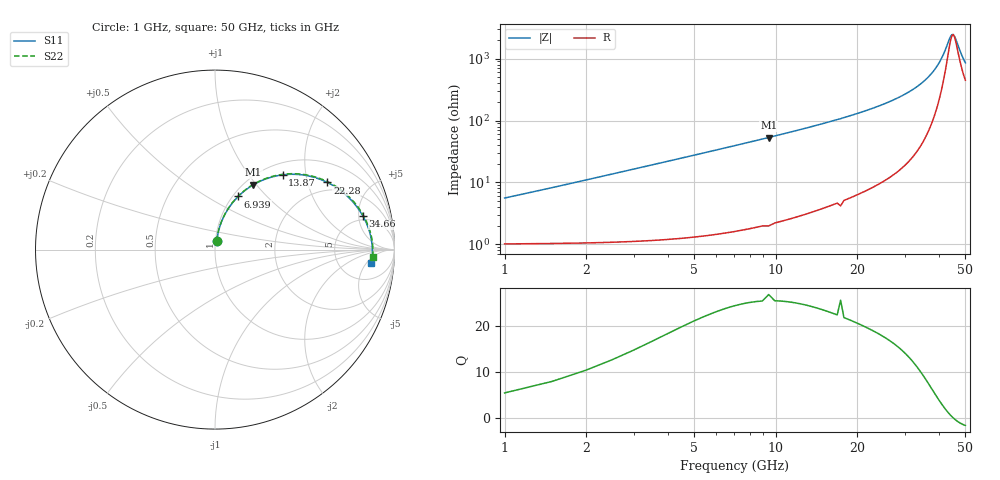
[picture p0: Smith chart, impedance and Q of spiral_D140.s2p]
! rapidmom parametric dataset (SG13G2 open stack, IHP)
! device = spiral
! family = spiral_N2
! stack = IHP SG13G2 (open PDK)
! Dout_um = 140
! width_um = 10
! spacing_um = 3
! sides = 8
! n_ports = 2
! n_dof = 3916
! cell_um = 3.333
! sweep = ROM (rational fit from adaptive anchor solves)
! rom_converged = False
! f_points = 100
! f_min_hz = 1.000e+09
! f_max_hz = 5.000e+10
! tool = rapidmom (2.5D MoM, A-EFIE)
! N = 2
# HZ S RI R 50
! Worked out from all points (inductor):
!   100 points, 1 GHz to 50 GHz, reference 50 ohm
!   read as 1/Y11, port 2 shorted: L = 869 pH near 1 GHz
!   highest Q = 25.4 at 9.414 GHz (marker M1), where L = 896 pH
!   self-resonance near 45.13 GHz
!   S11 on the Smith chart (normalised r, x): 1 GHz: 1.02, +0.10; 6.939 GHz: 1.06, +0.70; 13.87 GHz: 1.22, +1.48; 22.28 GHz: 1.67, +2.68; 34.66 GHz: 4.35, +5.67; 50 GHz: 11, -7
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1e9  0.0112 0.0475  0.9852 -0.0601  0.9852 -0.0601  0.0112 0.0475
1.494949e9  0.0114 0.0577  0.9781 -0.101  0.9781 -0.101  0.0109 0.058
1.989899e9  0.0157 0.0856  0.9722 -0.1245  0.9722 -0.1245  0.0152 0.0861
2.484848e9  0.0218 0.1116  0.9655 -0.1491  0.9655 -0.1491  0.0212 0.1121
2.979798e9  0.0293 0.1362  0.9575 -0.174  0.9575 -0.174  0.0288 0.1369
3.474747e9  0.0381 0.1597  0.9484 -0.1987  0.9484 -0.1987  0.0376 0.1605
3.969697e9  0.0482 0.1823  0.9381 -0.223  0.9381 -0.223  0.0477 0.1831
4.959596e9  0.0717 0.2243  0.9144 -0.2698  0.9144 -0.2698  0.0711 0.2254
5.949495e9  0.099 0.2623  0.8868 -0.3133  0.8868 -0.3133  0.0985 0.2636
6.939394e9  0.1295 0.2961  0.8562 -0.3531  0.8562 -0.3531  0.1289 0.2976
8.424242e9  0.1795 0.3387  0.8058 -0.4052  0.8058 -0.4052  0.1788 0.3404
9.414141e9  0.2144 0.3613  0.7726 -0.4344  0.7726 -0.4344  0.2129 0.3617
1.139394e10  0.2871 0.3951  0.6973 -0.4823  0.6973 -0.4823  0.2863 0.3975
1.386869e10  0.3766 0.4162  0.6068 -0.5216  0.6068 -0.5216  0.3755 0.4192
1.782828e10  0.5066 0.413  0.474 -0.5492  0.474 -0.5492  0.5051 0.417
2.228283e10  0.6263 0.374  0.3494 -0.5474  0.3494 -0.5474  0.6239 0.3797
2.574747e10  0.6998 0.3289  0.2698 -0.5332  0.2698 -0.5332  0.6968 0.3364
2.970707e10  0.7654 0.2687  0.1937 -0.5102  0.1937 -0.5102  0.762 0.2788
3.366667e10  0.8136 0.2043  0.1279 -0.4844  0.1279 -0.4844  0.8096 0.2181
3.465657e10  0.824 0.1867  0.1154 -0.4767  0.1154 -0.4767  0.8206 0.2009
4.208081e10  0.8705 0.0586  0.0206 -0.421  0.0206 -0.421  0.8697 0.0805
5e10  0.8717 -0.0722  -0.0612 -0.3521  -0.0612 -0.3521  0.8786 -0.0422
